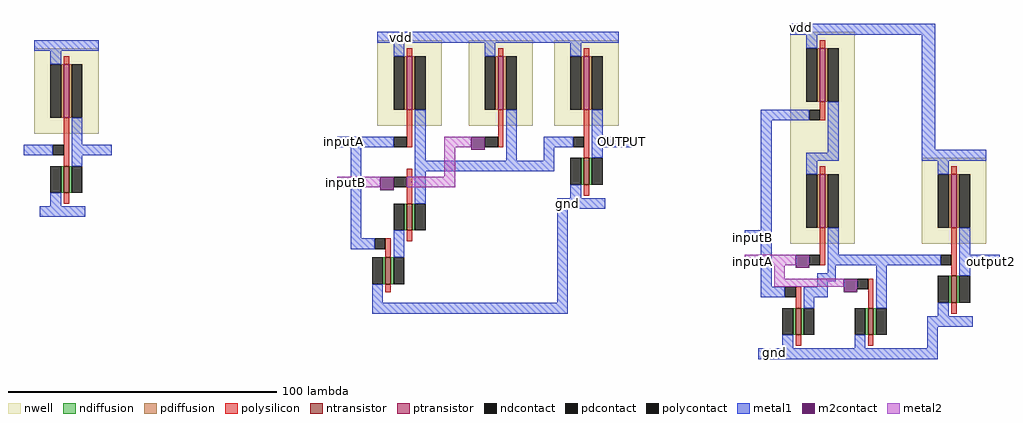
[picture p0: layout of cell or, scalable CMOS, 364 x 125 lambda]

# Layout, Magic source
magic
tech scmos
<< nwell >>
rect 65 85 89 117
rect 193 88 217 120
rect 227 88 251 120
rect 259 88 283 120
rect 347 44 371 123
rect 396 44 420 76
<< ntransistor >>
rect 76 63 78 73
rect 270 66 272 76
rect 204 49 206 59
rect 196 29 198 39
rect 407 22 409 32
rect 349 10 351 20
rect 376 10 378 20
<< ptransistor >>
rect 76 91 78 111
rect 204 94 206 114
rect 238 94 240 114
rect 270 94 272 114
rect 358 97 360 117
rect 358 50 360 70
rect 407 50 409 70
<< ndiffusion >>
rect 75 63 76 73
rect 78 63 79 73
rect 269 66 270 76
rect 272 66 273 76
rect 203 49 204 59
rect 206 49 207 59
rect 195 29 196 39
rect 198 29 199 39
rect 406 22 407 32
rect 409 22 410 32
rect 348 10 349 20
rect 351 10 352 20
rect 375 10 376 20
rect 378 10 379 20
<< pdiffusion >>
rect 75 91 76 111
rect 78 91 79 111
rect 203 94 204 114
rect 206 94 207 114
rect 237 94 238 114
rect 240 94 241 114
rect 269 94 270 114
rect 272 94 273 114
rect 357 97 358 117
rect 360 97 361 117
rect 357 50 358 70
rect 360 50 361 70
rect 406 50 407 70
rect 409 50 410 70
<< ndcontact >>
rect 71 63 75 73
rect 79 63 83 73
rect 265 66 269 76
rect 273 66 277 76
rect 199 49 203 59
rect 207 49 211 59
rect 191 29 195 39
rect 199 29 203 39
rect 402 22 406 32
rect 410 22 414 32
rect 344 10 348 20
rect 352 10 356 20
rect 371 10 375 20
rect 379 10 383 20
<< pdcontact >>
rect 71 91 75 111
rect 79 91 83 111
rect 199 94 203 114
rect 207 94 211 114
rect 233 94 237 114
rect 241 94 245 114
rect 265 94 269 114
rect 273 94 277 114
rect 353 97 357 117
rect 361 97 365 117
rect 353 50 357 70
rect 361 50 365 70
rect 402 50 406 70
rect 410 50 414 70
<< polysilicon >>
rect 358 117 360 120
rect 204 114 206 117
rect 238 114 240 117
rect 270 114 272 117
rect 76 111 78 114
rect 76 73 78 91
rect 204 80 206 94
rect 238 80 240 94
rect 270 76 272 94
rect 358 90 360 97
rect 76 59 78 63
rect 204 59 206 72
rect 358 70 360 73
rect 407 70 409 73
rect 270 62 272 66
rect 196 39 198 46
rect 204 45 206 49
rect 358 36 360 50
rect 407 32 409 50
rect 196 26 198 29
rect 349 20 351 28
rect 376 20 378 31
rect 407 18 409 22
rect 349 6 351 10
rect 376 6 378 10
<< polycontact >>
rect 72 77 76 81
rect 199 80 204 84
rect 233 80 238 84
rect 266 80 270 84
rect 354 90 358 94
rect 199 65 204 69
rect 192 42 196 46
rect 354 36 358 40
rect 403 36 407 40
rect 345 24 349 28
rect 372 27 376 31
<< metal1 >>
rect 65 116 89 120
rect 193 119 283 123
rect 347 122 401 126
rect 71 111 75 116
rect 199 114 203 119
rect 233 114 237 119
rect 265 114 269 119
rect 353 117 357 122
rect 79 81 83 91
rect 61 77 72 81
rect 79 77 94 81
rect 178 80 199 84
rect 79 73 83 77
rect 71 58 75 63
rect 67 54 84 58
rect 183 46 187 80
rect 207 75 211 94
rect 241 75 245 94
rect 273 84 277 94
rect 336 90 354 94
rect 255 80 266 84
rect 273 80 288 84
rect 255 75 259 80
rect 273 76 277 80
rect 207 71 259 75
rect 207 59 211 71
rect 265 61 269 66
rect 260 57 278 61
rect 183 42 192 46
rect 199 39 203 49
rect 191 22 195 29
rect 260 22 264 57
rect 336 49 340 90
rect 361 78 365 97
rect 353 75 365 78
rect 396 79 401 122
rect 396 75 420 79
rect 353 70 357 75
rect 402 70 406 75
rect 330 45 340 49
rect 336 28 340 45
rect 361 40 365 50
rect 410 40 414 50
rect 361 36 403 40
rect 410 36 425 40
rect 361 33 364 36
rect 357 30 364 33
rect 357 28 361 30
rect 336 24 345 28
rect 352 24 361 28
rect 191 18 264 22
rect 352 20 356 24
rect 379 20 383 36
rect 410 32 414 36
rect 402 17 406 22
rect 398 13 415 17
rect 344 5 348 10
rect 371 5 375 10
rect 398 5 402 13
rect 335 1 402 5
<< m2contact >>
rect 228 79 233 84
rect 194 64 199 69
rect 349 35 354 40
rect 367 26 372 31
<< metal2 >>
rect 218 80 228 84
rect 218 69 222 80
rect 178 65 194 69
rect 204 65 222 69
rect 330 36 349 40
rect 341 31 345 36
rect 341 28 367 31
<< labels >>
rlabel metal1 262 58 266 60 1 gnd
rlabel metal1 179 81 182 83 1 inputA
rlabel metal1 199 120 205 122 5 vdd
rlabel metal2 179 66 183 68 1 inputB
rlabel metal1 282 81 286 83 7 OUTPUT
rlabel metal1 331 45 335 48 1 inputB
rlabel metal2 331 36 335 39 1 inputA
rlabel metal1 349 123 353 126 5 vdd
rlabel metal1 339 2 343 5 1 gnd
rlabel metal1 420 36 424 39 7 output2
<< end >>
